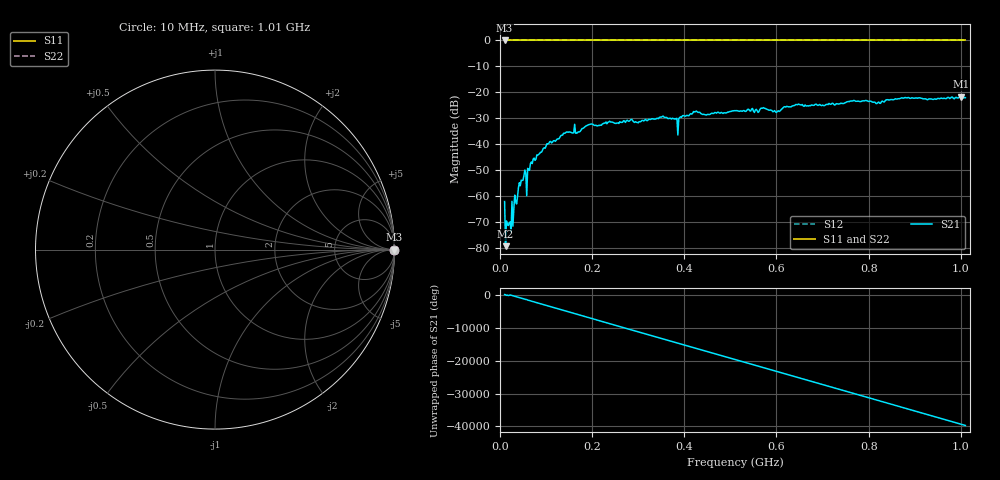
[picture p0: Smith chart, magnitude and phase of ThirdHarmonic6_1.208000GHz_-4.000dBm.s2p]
! 8/16/2025 12:33:42 PM
! C:\ANRITSUVNA\TEMP\TEMP.S2P
! CHANNEL.1
! TR.MEASUREMENT
! RAW.DATA
! RF.CORRECTION.OFF
! AVERAGING.OFF
! IF.BANDWIDTH: 5KHZ
! SWEEPTYPE:  FREQ.SWEEP(Linear)
! Reference Plane Port Info
! PORT:  PORT1  PORT2
! DISTANCE:  0  m  0  m
! TIME:  0  s  0  s
! PHASE.OFFSET:  0  deg.  0  deg.
! LOSS:  0  dB  0  dB
! REF.LOSS:  0  dB  0  dB
! REF.FREQ:  0  Hz  0  Hz
! Power Info
! POWER:  -20  dBm  -20  dBm
! EFF.POWER:  -20  dBm  -20  dBm
! SOURCE.ATTEN:  0  dB  0  dB
! TEST.ATTEN:  0  dB  0  dB
# GHZ S RI R 50.0
! FREQ.GHZ  S11RE  S11IM  S21RE  S21IM  S12RE  S12IM  S22RE  S22IM
!; PortSelection: Port_12
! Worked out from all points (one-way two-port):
!   501 points, 10 MHz to 1.01 GHz, reference 50 ohm
!   highest |S21| = -21.62 dB at 1 GHz (marker M1); lowest = -79.3 dB at 12 MHz (marker M2)
!   lowest |S11| = 0.0 dB at 10 MHz (marker M3)
!   |S11| at or under -10 dB: nowhere
!   |S22| runs from 0.0 to 0.0 dB; largest |S21 - S12| = 1.1
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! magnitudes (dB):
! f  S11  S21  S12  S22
! 10 MHz  0.0  -62.1  0.0  0.0
! 12 MHz  0.0  -79.3  0.0  0.0
! 16 MHz  0.0  -71.0  0.0  0.0
! 18 MHz  0.0  -71.3  0.0  0.0
! 20 MHz  0.0  -70.3  0.0  0.0
! 44 MHz  0.0  -56.0  0.0  0.0
! 52 MHz  0.0  -52.0  0.0  0.0
! 60 MHz  0.0  -49.3  0.0  0.0
! 70 MHz  0.0  -47.4  0.0  0.0
! 106 MHz  0.0  -39.7  0.0  0.0
! 178 MHz  0.0  -33.9  0.0  0.0
! 196 MHz  0.0  -32.3  0.0  0.0
! 344 MHz  0.0  -30.1  0.0  0.0
! 384 MHz  0.0  -30.1  0.0  0.0
! 424 MHz  0.0  -27.4  0.0  0.0
! 510 MHz  0.0  -27.0  0.0  0.0
! 602 MHz  0.0  -27.4  0.0  0.0
! 644 MHz  0.0  -24.7  0.0  0.0
! 678 MHz  0.0  -24.9  0.0  0.0
! 844 MHz  0.0  -22.9  0.0  0.0
! 1 GHz  0.0  -21.6  0.0  0.0
! 1.01 GHz  0.0  -22.1  0.0  0.0
